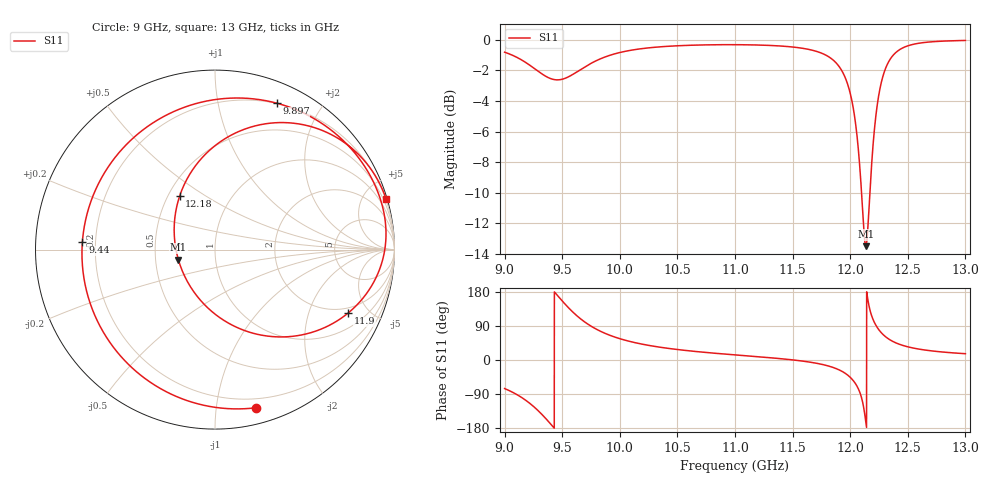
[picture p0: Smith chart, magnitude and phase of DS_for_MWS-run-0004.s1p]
! TOUCHSTONE file generated by CST DESIGN STUDIO
! Date and time: Tue Feb  4 17:39:15 2025
! Project name: C:\Work\MatlabApps\UnitCellOptimizationMatlab\CST\unitcell.cst
! Tree item: Tasks\Sweep1\SPara1\S-Parameters
! Header version: 2024
! Port assignment regex: !\s*Touchstone port\s*([0-9]+)\s*=\s*(CST MWS port|CST DES external port|CST DES block port)\s*(.+)\s* \(\"(.*)\"\)(\s*mode\s*([0-9]+))?.*
! Touchstone port assignment:
! Touchstone port 1 = CST DES external port 1 ("")
# GHz S MA R 50
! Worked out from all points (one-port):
!   4001 points, 9 GHz to 13 GHz, reference 50 ohm
!   lowest |S11| = -13.5 dB at 12.14 GHz (marker M1), VSWR 1.54, Z = 32.9 - j3.9 ohm
!   |S11| at or under -10 dB: 12.1 GHz to 12.17 GHz (72.14 MHz wide, 0.594 % of centre)
!   S11 on the Smith chart (normalised r, x): 9 GHz: 0.12, -1.29; 9.44 GHz: 0.15, +0.03; 9.897 GHz: 0.20, +1.49; 11.9 GHz: 1.69, -3.68; 12.18 GHz: 0.57, +0.39; 13 GHz: 0.13, +6.85
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9  0.9105 -75.3
9.129  0.8669 -95.3
9.231  0.8194 -117.4
9.348  0.7632 -151.4
9.44  0.7402 176.9
9.5  0.7429 155.8
9.587  0.7684 128.0
9.673  0.805 105.4
9.771  0.8452 85.6
9.897  0.8853 67.2
10  0.9083 56.3
10.215  0.9376 40.6
10.5  0.9556 27.7
11  0.9635 13.5
11.5  0.9468 0.3
11.751  0.9041 -11.3
11.9  0.8211 -25.5
12  0.6689 -45.6
12.073  0.4289 -77.6
12.103  0.2976 -104.8
12.136  0.2117 -164.5
12.179  0.3564 123.7
12.228  0.5858 89.1
12.281  0.7526 68.5
12.376  0.8927 48.1
12.5  0.9552 34.8
12.689  0.9834 24.7
13  0.9946 16.6
